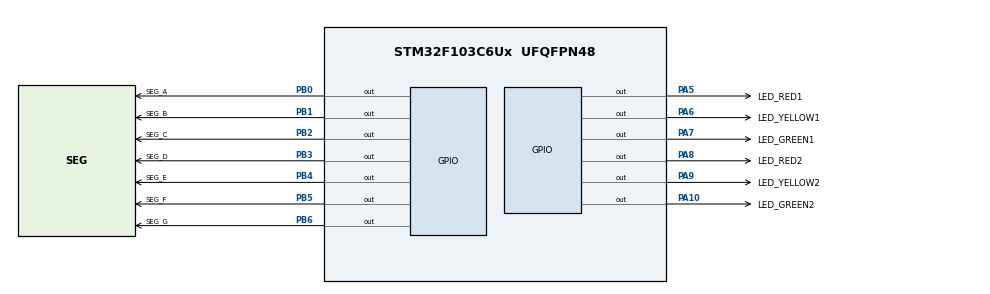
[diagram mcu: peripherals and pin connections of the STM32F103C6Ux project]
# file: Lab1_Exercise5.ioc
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Mcu.Family=STM32F1
Mcu.Name=STM32F103C6Ux
Mcu.Package=UFQFPN48
NVIC.PriorityGroup=NVIC_PRIORITYGROUP_4
PA10.GPIO_Label=LED_GREEN2
PA10.Signal=GPIO_Output
PA5.GPIO_Label=LED_RED1
PA5.Signal=GPIO_Output
PA6.GPIO_Label=LED_YELLOW1
PA6.Signal=GPIO_Output
PA7.GPIO_Label=LED_GREEN1
PA7.PinState=GPIO_PIN_SET
PA7.Signal=GPIO_Output
PA8.GPIO_Label=LED_RED2
PA8.PinState=GPIO_PIN_SET
PA8.Signal=GPIO_Output
PA9.GPIO_Label=LED_YELLOW2
PA9.Signal=GPIO_Output
PB0.GPIO_Label=SEG_A
PB0.PinState=GPIO_PIN_SET
PB0.Signal=GPIO_Output
PB1.GPIO_Label=SEG_B
PB1.PinState=GPIO_PIN_SET
PB1.Signal=GPIO_Output
PB2.GPIO_Label=SEG_C
PB2.PinState=GPIO_PIN_SET
PB2.Signal=GPIO_Output
PB3.GPIO_Label=SEG_D
PB3.PinState=GPIO_PIN_SET
PB3.Signal=GPIO_Output
PB4.GPIO_Label=SEG_E
PB4.PinState=GPIO_PIN_SET
PB4.Signal=GPIO_Output
PB5.GPIO_Label=SEG_F
PB5.PinState=GPIO_PIN_SET
PB5.Signal=GPIO_Output
PB6.GPIO_Label=SEG_G
PB6.Signal=GPIO_Output
ProjectManager.HeapSize=0x200
ProjectManager.StackSize=0x400
ProjectManager.TargetToolchain=STM32CubeIDE
RCC.APB1Freq_Value=8000000
RCC.APB2Freq_Value=8000000
VP_SYS_VS_ND.Mode=No_Debug
board=custom

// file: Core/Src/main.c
/* USER CODE BEGIN Header */
/**
  ******************************************************************************
  * @file           : main.c
  * @brief          : Main program body
  ******************************************************************************
  * @attention
  *
  * <h2><center>&copy; Copyright (c) 2026 STMicroelectronics.
  * All rights reserved.</center></h2>
  *
  * This software component is licensed by ST under BSD 3-Clause license,
  * the "License"; You may not use this file except in compliance with the
  * License. You may obtain a copy of the License at:
  *                        opensource.org/licenses/BSD-3-Clause
  *
  ******************************************************************************
  */
/* USER CODE END Header */
#include "main.h"

/* USER CODE BEGIN PV */
uint8_t state_ex5 = 0;
uint8_t timer_ex5 = 0;
uint8_t countdown_ex5 = 3;
/* USER CODE END PV */

void SystemClock_Config(void);
static void MX_GPIO_Init(void);

/* USER CODE BEGIN 0 */
void display7SEG(int num)
{
    // Turn off all segments first
    HAL_GPIO_WritePin(GPIOB,
                      GPIO_PIN_0 | GPIO_PIN_1 | GPIO_PIN_2 |
                      GPIO_PIN_3 | GPIO_PIN_4 | GPIO_PIN_5 |
                      GPIO_PIN_6,
                      GPIO_PIN_SET);

    switch (num)
    {
        case 0:
            // a b c d e f
            HAL_GPIO_WritePin(GPIOB,
                              GPIO_PIN_0 | GPIO_PIN_1 | GPIO_PIN_2 |
                              GPIO_PIN_3 | GPIO_PIN_4 | GPIO_PIN_5,
                              GPIO_PIN_RESET);
            break;

        case 1:
            // b c
            HAL_GPIO_WritePin(GPIOB,
                              GPIO_PIN_1 | GPIO_PIN_2,
                              GPIO_PIN_RESET);
            break;

        case 2:
            // a b d e g
            HAL_GPIO_WritePin(GPIOB,
                              GPIO_PIN_0 | GPIO_PIN_1 |
                              GPIO_PIN_3 | GPIO_PIN_4 |
                              GPIO_PIN_6,
                              GPIO_PIN_RESET);
            break;

        case 3:
            // a b c d g
            HAL_GPIO_WritePin(GPIOB,
                              GPIO_PIN_0 | GPIO_PIN_1 |
                              GPIO_PIN_2 | GPIO_PIN_3 |
                              GPIO_PIN_6,
                              GPIO_PIN_RESET);
            break;

        case 4:
            // b c f g
            HAL_GPIO_WritePin(GPIOB,
                              GPIO_PIN_1 | GPIO_PIN_2 |
                              GPIO_PIN_5 | GPIO_PIN_6,
                              GPIO_PIN_RESET);
            break;

        case 5:
            // a c d f g
            HAL_GPIO_WritePin(GPIOB,
                              GPIO_PIN_0 | GPIO_PIN_2 |
                              GPIO_PIN_3 | GPIO_PIN_5 |
                              GPIO_PIN_6,
                              GPIO_PIN_RESET);
            break;

        case 6:
            // a c d e f g
            HAL_GPIO_WritePin(GPIOB,
                              GPIO_PIN_0 | GPIO_PIN_2 |
                              GPIO_PIN_3 | GPIO_PIN_4 |
                              GPIO_PIN_5 | GPIO_PIN_6,
                              GPIO_PIN_RESET);
            break;

        case 7:
            // a b c
            HAL_GPIO_WritePin(GPIOB,
                              GPIO_PIN_0 | GPIO_PIN_1 |
                              GPIO_PIN_2,
                              GPIO_PIN_RESET);
            break;

        case 8:
            // a b c d e f g
            HAL_GPIO_WritePin(GPIOB,
                              GPIO_PIN_0 | GPIO_PIN_1 |
                              GPIO_PIN_2 | GPIO_PIN_3 |
                              GPIO_PIN_4 | GPIO_PIN_5 |
                              GPIO_PIN_6,
                              GPIO_PIN_RESET);
            break;

        case 9:
            // a b c d f g
            HAL_GPIO_WritePin(GPIOB,
                              GPIO_PIN_0 | GPIO_PIN_1 |
                              GPIO_PIN_2 | GPIO_PIN_3 |
                              GPIO_PIN_5 | GPIO_PIN_6,
                              GPIO_PIN_RESET);
            break;

        default:
            break;
    }
}

void setTrafficState(uint8_t state)
{
    switch (state)
    {
        case 0:
            // Group 1: GREEN
            HAL_GPIO_WritePin(LED_RED1_GPIO_Port,
                              LED_RED1_Pin,
                              GPIO_PIN_RESET);

            HAL_GPIO_WritePin(LED_YELLOW1_GPIO_Port,
                              LED_YELLOW1_Pin,
                              GPIO_PIN_RESET);

            HAL_GPIO_WritePin(LED_GREEN1_GPIO_Port,
                              LED_GREEN1_Pin,
                              GPIO_PIN_SET);

            // Group 2: RED
            HAL_GPIO_WritePin(LED_RED2_GPIO_Port,
                              LED_RED2_Pin,
                              GPIO_PIN_SET);

            HAL_GPIO_WritePin(LED_YELLOW2_GPIO_Port,
                              LED_YELLOW2_Pin,
                              GPIO_PIN_RESET);

            HAL_GPIO_WritePin(LED_GREEN2_GPIO_Port,
                              LED_GREEN2_Pin,
                              GPIO_PIN_RESET);
            break;

        case 1:
            // Group 1: YELLOW
            HAL_GPIO_WritePin(LED_RED1_GPIO_Port,
                              LED_RED1_Pin,
                              GPIO_PIN_RESET);

            HAL_GPIO_WritePin(LED_YELLOW1_GPIO_Port,
                              LED_YELLOW1_Pin,
                              GPIO_PIN_SET);

            HAL_GPIO_WritePin(LED_GREEN1_GPIO_Port,
                              LED_GREEN1_Pin,
                              GPIO_PIN_RESET);

            // Group 2: RED
            HAL_GPIO_WritePin(LED_RED2_GPIO_Port,
                              LED_RED2_Pin,
                              GPIO_PIN_SET);

            HAL_GPIO_WritePin(LED_YELLOW2_GPIO_Port,
                              LED_YELLOW2_Pin,
                              GPIO_PIN_RESET);

            HAL_GPIO_WritePin(LED_GREEN2_GPIO_Port,
                              LED_GREEN2_Pin,
                              GPIO_PIN_RESET);
            break;

        case 2:
            // Group 1: RED
            HAL_GPIO_WritePin(LED_RED1_GPIO_Port,
                              LED_RED1_Pin,
                              GPIO_PIN_SET);

            HAL_GPIO_WritePin(LED_YELLOW1_GPIO_Port,
                              LED_YELLOW1_Pin,
                              GPIO_PIN_RESET);

            HAL_GPIO_WritePin(LED_GREEN1_GPIO_Port,
                              LED_GREEN1_Pin,
                              GPIO_PIN_RESET);

            // Group 2: GREEN
            HAL_GPIO_WritePin(LED_RED2_GPIO_Port,
                              LED_RED2_Pin,
                              GPIO_PIN_RESET);

            HAL_GPIO_WritePin(LED_YELLOW2_GPIO_Port,
                              LED_YELLOW2_Pin,
                              GPIO_PIN_RESET);

            HAL_GPIO_WritePin(LED_GREEN2_GPIO_Port,
                              LED_GREEN2_Pin,
                              GPIO_PIN_SET);
            break;

        case 3:
            // Group 1: RED
            HAL_GPIO_WritePin(LED_RED1_GPIO_Port,
                              LED_RED1_Pin,
                              GPIO_PIN_SET);

            HAL_GPIO_WritePin(LED_YELLOW1_GPIO_Port,
                              LED_YELLOW1_Pin,
                              GPIO_PIN_RESET);

            HAL_GPIO_WritePin(LED_GREEN1_GPIO_Port,
                              LED_GREEN1_Pin,
                              GPIO_PIN_RESET);

            // Group 2: YELLOW
            HAL_GPIO_WritePin(LED_RED2_GPIO_Port,
                              LED_RED2_Pin,
                              GPIO_PIN_RESET);

            HAL_GPIO_WritePin(LED_YELLOW2_GPIO_Port,
                              LED_YELLOW2_Pin,
                              GPIO_PIN_SET);

            HAL_GPIO_WritePin(LED_GREEN2_GPIO_Port,
                              LED_GREEN2_Pin,
                              GPIO_PIN_RESET);
            break;
    }
}

void EX5_RUN(void)
{
    timer_ex5++;

    switch (state_ex5)
    {
        case 0:
            // Group 1 GREEN - 3 seconds

            if (timer_ex5 >= 3)
            {
                state_ex5 = 1;
                timer_ex5 = 0;

                setTrafficState(state_ex5);

                // Group 1 YELLOW starts at 2
                countdown_ex5 = 2;
            }
            else
            {
                countdown_ex5--;
            }
            break;

        case 1:
            // Group 1 YELLOW - 2 seconds

            if (timer_ex5 >= 2)
            {
                state_ex5 = 2;
                timer_ex5 = 0;

                setTrafficState(state_ex5);

                // Group 1 RED total time = 5 seconds
                countdown_ex5 = 5;
            }
            else
            {
                countdown_ex5--;
            }
            break;

        case 2:
            // Group 1 RED
            // Group 2 GREEN - first 3 seconds

            countdown_ex5--;

            if (timer_ex5 >= 3)
            {
                state_ex5 = 3;
                timer_ex5 = 0;

                setTrafficState(state_ex5);

                // Do NOT reset countdown here
                // RED1 continues: 2 -> 1
            }
            break;

        case 3:
            // Group 1 RED
            // Group 2 YELLOW - last 2 seconds

            if (timer_ex5 >= 2)
            {
                state_ex5 = 0;
                timer_ex5 = 0;

                setTrafficState(state_ex5);

                // New GREEN cycle
                countdown_ex5 = 3;
            }
            else
            {
                countdown_ex5--;
            }
            break;
    }

    display7SEG(countdown_ex5);
}

/* USER CODE END 0 */

int main(void)
{

  /* MCU Configuration--------------------------------------------------------*/

  /* Reset of all peripherals, Initializes the Flash interface and the Systick. */
  HAL_Init();

  /* Configure the system clock */
  SystemClock_Config();

  /* Initialize all configured peripherals */
  MX_GPIO_Init();
  /* USER CODE BEGIN 2 */
  setTrafficState(state_ex5);
  display7SEG(countdown_ex5);
  /* USER CODE END 2 */

  /* Infinite loop */
  while (1)
  {
	  HAL_Delay(1000);
	      EX5_RUN();
  }
}

void SystemClock_Config(void)
{
  RCC_OscInitTypeDef RCC_OscInitStruct = {0};
  RCC_ClkInitTypeDef RCC_ClkInitStruct = {0};

  /** Initializes the RCC Oscillators according to the specified parameters
  * in the RCC_OscInitTypeDef structure.
  */
  RCC_OscInitStruct.OscillatorType = RCC_OSCILLATORTYPE_HSI;
  RCC_OscInitStruct.HSIState = RCC_HSI_ON;
  RCC_OscInitStruct.HSICalibrationValue = RCC_HSICALIBRATION_DEFAULT;
  RCC_OscInitStruct.PLL.PLLState = RCC_PLL_NONE;
  if (HAL_RCC_OscConfig(&RCC_OscInitStruct) != HAL_OK)
  {
    Error_Handler();
  }
  /** Initializes the CPU, AHB and APB buses clocks
  */
  RCC_ClkInitStruct.ClockType = RCC_CLOCKTYPE_HCLK|RCC_CLOCKTYPE_SYSCLK
                              |RCC_CLOCKTYPE_PCLK1|RCC_CLOCKTYPE_PCLK2;
  RCC_ClkInitStruct.SYSCLKSource = RCC_SYSCLKSOURCE_HSI;
  RCC_ClkInitStruct.AHBCLKDivider = RCC_SYSCLK_DIV1;
  RCC_ClkInitStruct.APB1CLKDivider = RCC_HCLK_DIV1;
  RCC_ClkInitStruct.APB2CLKDivider = RCC_HCLK_DIV1;

  if (HAL_RCC_ClockConfig(&RCC_ClkInitStruct, FLASH_LATENCY_0) != HAL_OK)
  {
    Error_Handler();
  }
}

static void MX_GPIO_Init(void)
{
  GPIO_InitTypeDef GPIO_InitStruct = {0};

  /* GPIO Ports Clock Enable */
  __HAL_RCC_GPIOA_CLK_ENABLE();
  __HAL_RCC_GPIOB_CLK_ENABLE();

  /*Configure GPIO pin Output Level */
  HAL_GPIO_WritePin(GPIOA, LED_RED1_Pin|LED_YELLOW1_Pin|LED_YELLOW2_Pin|LED_GREEN2_Pin, GPIO_PIN_RESET);

  /*Configure GPIO pin Output Level */
  HAL_GPIO_WritePin(GPIOA, LED_GREEN1_Pin|LED_RED2_Pin, GPIO_PIN_SET);

  /*Configure GPIO pin Output Level */
  HAL_GPIO_WritePin(GPIOB, SEG_A_Pin|SEG_B_Pin|SEG_C_Pin|SEG_D_Pin
                          |SEG_E_Pin|SEG_F_Pin, GPIO_PIN_SET);

  /*Configure GPIO pin Output Level */
  HAL_GPIO_WritePin(SEG_G_GPIO_Port, SEG_G_Pin, GPIO_PIN_RESET);

  /*Configure GPIO pins : LED_RED1_Pin LED_YELLOW1_Pin LED_GREEN1_Pin LED_RED2_Pin
                           LED_YELLOW2_Pin LED_GREEN2_Pin */
  GPIO_InitStruct.Pin = LED_RED1_Pin|LED_YELLOW1_Pin|LED_GREEN1_Pin|LED_RED2_Pin
                          |LED_YELLOW2_Pin|LED_GREEN2_Pin;
  GPIO_InitStruct.Mode = GPIO_MODE_OUTPUT_PP;
  GPIO_InitStruct.Pull = GPIO_NOPULL;
  GPIO_InitStruct.Speed = GPIO_SPEED_FREQ_LOW;
  HAL_GPIO_Init(GPIOA, &GPIO_InitStruct);

  /*Configure GPIO pins : SEG_A_Pin SEG_B_Pin SEG_C_Pin SEG_D_Pin
                           SEG_E_Pin SEG_F_Pin SEG_G_Pin */
  GPIO_InitStruct.Pin = SEG_A_Pin|SEG_B_Pin|SEG_C_Pin|SEG_D_Pin
                          |SEG_E_Pin|SEG_F_Pin|SEG_G_Pin;
  GPIO_InitStruct.Mode = GPIO_MODE_OUTPUT_PP;
  GPIO_InitStruct.Pull = GPIO_NOPULL;
  GPIO_InitStruct.Speed = GPIO_SPEED_FREQ_LOW;
  HAL_GPIO_Init(GPIOB, &GPIO_InitStruct);

}

void Error_Handler(void)
{
  __disable_irq();
  while (1)
  {
  }
}

/************************ (C) COPYRIGHT STMicroelectronics *****END OF FILE****/
